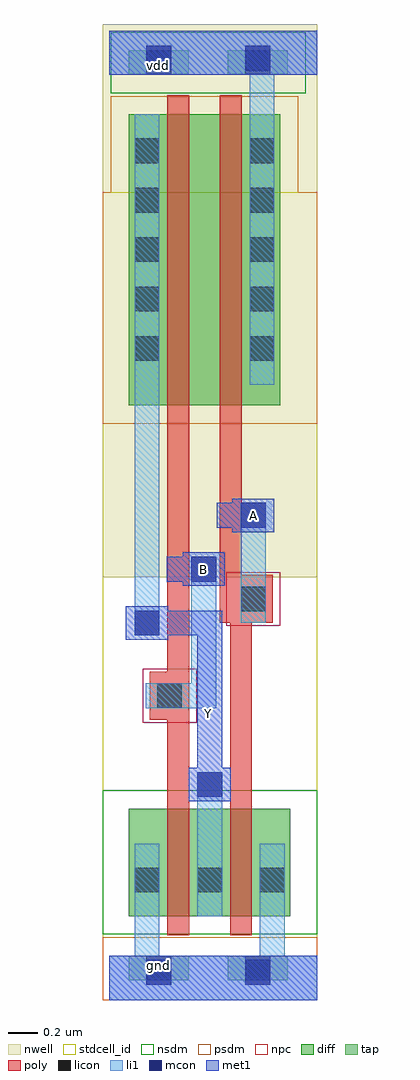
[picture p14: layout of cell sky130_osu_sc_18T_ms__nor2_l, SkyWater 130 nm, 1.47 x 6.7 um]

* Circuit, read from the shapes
.subckt sky130_osu_sc_18T_ms__nor2_l A B Y gnd vdd
XM1 Y B gnd gnd sky130_fd_pr__nfet_01v8 w=0.74 l=0.15
XM2 gnd A Y gnd sky130_fd_pr__nfet_01v8 w=0.74 l=0.15
XM3 n1 B Y vdd sky130_fd_pr__pfet_01v8 w=2 l=0.15
XM4 vdd A n1 vdd sky130_fd_pr__pfet_01v8 w=2 l=0.15
.ends

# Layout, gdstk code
import gdstk
lib = gdstk.Library(unit=1e-6, precision=1e-09)
def R(c, l, rs):  # rectangles x0, y0, x1, y1
    for r in rs: c.add(gdstk.rectangle(r[:2], r[2:], *l))
def A(c, l, x, y, w, h, nx, ny, dx, dy):  # array of equal rectangles
    R(c, l, [(x+i*dx, y+j*dy, x+i*dx+w, y+j*dy+h) for i in range(nx) for j in range(ny)])
nwell = (64, 20)
diff = (65, 20)
tap = (65, 44)
poly = (66, 20)
licon = (66, 44)
li1 = (67, 20)
mcon = (67, 44)
met1 = (68, 20)
stdcell_id = (81, 4)
nsdm = (93, 44)
psdm = (94, 20)
npc = (95, 20)

sky130_osu_sc_18t_ms__no = lib.new_cell('sky130_osu_sc_18T_ms__nor2_l')
R(sky130_osu_sc_18t_ms__no, nwell, [(-0.045,2.905,1.43,6.705)])
R(sky130_osu_sc_18t_ms__no, diff, [(0.135,0.575,1.245,1.315), (0.135,4.085,1.175,6.085)])
R(sky130_osu_sc_18t_ms__no, tap, [(0.135,0.135,0.545,0.305), (0.815,0.135,1.225,0.305), (0.135,6.355,0.545,6.525), (0.815,6.355,1.225,6.525)])
R(sky130_osu_sc_18t_ms__no, poly, [(0.4,0.445,0.55,1.925), (0.83,0.445,0.98,2.59), (0.28,1.925,0.55,2.255), (0.4,2.255,0.55,6.215), (0.76,2.59,1.125,2.92), (0.76,2.92,0.91,6.215)])
A(sky130_osu_sc_18t_ms__no, licon, 0.175, 0.74, 0.17, 0.17, 3, 1, 0.43, 0)
A(sky130_osu_sc_18t_ms__no, licon, 0.175, 4.39, 0.17, 0.17, 1, 5, 0, 0.34)
A(sky130_osu_sc_18t_ms__no, licon, 0.965, 4.39, 0.17, 0.17, 1, 5, 0, 0.34)
R(sky130_osu_sc_18t_ms__no, licon, [(0.255,0.135,0.425,0.305), (0.935,0.135,1.105,0.305), (0.33,2.005,0.5,2.175), (0.905,2.67,1.075,2.84), (0.255,6.355,0.425,6.525), (0.935,6.355,1.105,6.525)])
R(sky130_osu_sc_18t_ms__no, li1, [(0,0,1.43,0.305), (0.175,0.305,0.345,1.075), (1.035,0.305,1.205,1.075), (0.605,0.575,0.775,1.565), (0.25,2.005,0.735,2.175), (0.565,2.175,0.735,3.045), (0.175,2.505,0.345,6.085), (0.905,2.59,1.075,3.415), (0.965,4.225,1.135,6.355), (0,6.355,1.43,6.66)])
R(sky130_osu_sc_18t_ms__no, mcon, [(0.255,0.105,0.425,0.275), (0.935,0.105,1.105,0.275), (0.605,1.395,0.775,1.565), (0.175,2.505,0.345,2.675), (0.565,2.875,0.735,3.045), (0.905,3.245,1.075,3.415), (0.255,6.385,0.425,6.555), (0.935,6.385,1.105,6.555)])
R(sky130_osu_sc_18t_ms__no, met1, [(0,0,1.43,0.305), (0.545,1.365,0.835,1.595), (0.605,1.595,0.775,2.505), (0.115,2.475,0.405,2.505), (0.115,2.505,0.775,2.675), (0.115,2.675,0.405,2.705), (0.505,2.845,0.795,2.875), (0.395,2.875,0.795,3.045), (0.505,3.045,0.795,3.075), (0.845,3.215,1.135,3.245), (0.74,3.245,1.135,3.415), (0.845,3.415,1.135,3.445), (0,6.355,1.43,6.66)])
R(sky130_osu_sc_18t_ms__no, stdcell_id, [(-0.045,0,1.43,5.55)])
R(sky130_osu_sc_18t_ms__no, nsdm, [(-0.045,0.45,1.43,1.44), (0.01,6.23,1.35,6.65)])
R(sky130_osu_sc_18t_ms__no, psdm, [(-0.045,0,1.43,0.43), (-0.045,3.96,1.43,5.55), (0.01,5.55,1.3,6.21)])
R(sky130_osu_sc_18t_ms__no, npc, [(0.23,1.905,0.6,2.275), (0.805,2.57,1.175,2.94)])
sky130_osu_sc_18t_ms__no.add(gdstk.Label('gnd', (0.34,0.24), layer=68, texttype=16))
sky130_osu_sc_18t_ms__no.add(gdstk.Label('vdd', (0.34,6.42), layer=68, texttype=16))
sky130_osu_sc_18t_ms__no.add(gdstk.Label('Y', (0.685,1.965), layer=68, texttype=5))
sky130_osu_sc_18t_ms__no.add(gdstk.Label('A', (0.99,3.33), layer=68, texttype=5))
sky130_osu_sc_18t_ms__no.add(gdstk.Label('B', (0.65,2.96), layer=68, texttype=5))

lib.write_gds('sky130_osu_sc_18T_ms__nor2_l.gds')
